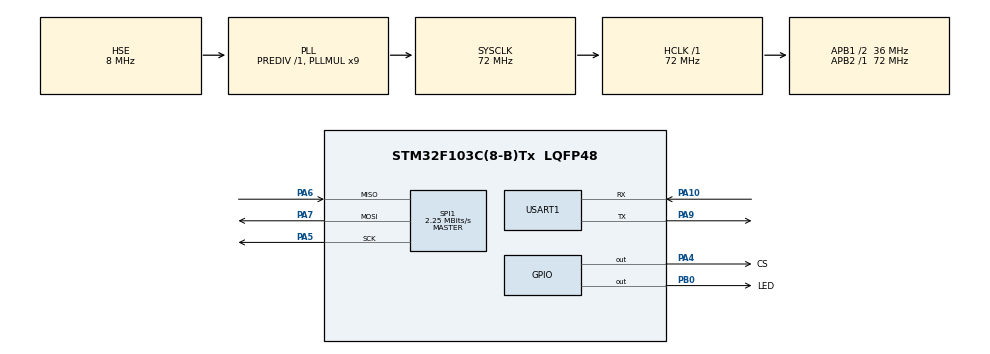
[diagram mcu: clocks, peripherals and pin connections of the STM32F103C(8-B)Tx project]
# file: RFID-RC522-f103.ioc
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Mcu.Family=STM32F1
Mcu.Name=STM32F103C(8-B)Tx
Mcu.Package=LQFP48
NVIC.PriorityGroup=NVIC_PRIORITYGROUP_4
PA10.Mode=Asynchronous
PA10.Signal=USART1_RX
PA13.Mode=Serial_Wire
PA13.Signal=SYS_JTMS-SWDIO
PA14.Mode=Serial_Wire
PA14.Signal=SYS_JTCK-SWCLK
PA4.GPIO_Label=CS
PA4.GPIO_PuPd=GPIO_PULLUP
PA4.Signal=GPIO_Output
PA5.Mode=Full_Duplex_Master
PA5.Signal=SPI1_SCK
PA6.GPIO_PuPd=GPIO_PULLUP
PA6.Mode=Full_Duplex_Master
PA6.Signal=SPI1_MISO
PA7.Mode=Full_Duplex_Master
PA7.Signal=SPI1_MOSI
PA9.Mode=Asynchronous
PA9.Signal=USART1_TX
PB0.GPIO_Label=LED
PB0.Signal=GPIO_Output
PD0-OSC_IN.Mode=HSE-External-Oscillator
PD0-OSC_IN.Signal=RCC_OSC_IN
PD1-OSC_OUT.Mode=HSE-External-Oscillator
PD1-OSC_OUT.Signal=RCC_OSC_OUT
ProjectManager.HeapSize=0x200
ProjectManager.StackSize=0x400
ProjectManager.TargetToolchain=SW4STM32
RCC.AHBFreq_Value=72000000
RCC.APB1CLKDivider=RCC_HCLK_DIV2
RCC.APB1Freq_Value=36000000
RCC.APB1TimFreq_Value=72000000
RCC.APB2Freq_Value=72000000
RCC.APB2TimFreq_Value=72000000
RCC.HCLKFreq_Value=72000000
RCC.PLLMUL=RCC_PLL_MUL9
RCC.PLLSourceVirtual=RCC_PLLSOURCE_HSE
RCC.SYSCLKFreq_VALUE=72000000
RCC.SYSCLKSource=RCC_SYSCLKSOURCE_PLLCLK
RCC.USBFreq_Value=72000000
SPI1.BaudRatePrescaler=SPI_BAUDRATEPRESCALER_32
SPI1.CalculateBaudRate=2.25 MBits/s
SPI1.Direction=SPI_DIRECTION_2LINES
SPI1.Mode=SPI_MODE_MASTER
SPI1.VirtualType=VM_MASTER
USART1.VirtualMode=VM_ASYNC
board=custom

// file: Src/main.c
/* USER CODE BEGIN Header */
/**
  ******************************************************************************
  * @file           : main.c
  * @brief          : Main program body
  ******************************************************************************
  * @attention
  *
  * <h2><center>&copy; Copyright (c) 2019 STMicroelectronics.
  * All rights reserved.</center></h2>
  *
  * This software component is licensed by ST under BSD 3-Clause license,
  * the "License"; You may not use this file except in compliance with the
  * License. You may obtain a copy of the License at:
  *                        opensource.org/licenses/BSD-3-Clause
  *
  ******************************************************************************
  */
/* USER CODE END Header */

#include "main.h"
#include "spi.h"
#include "usart.h"
#include "gpio.h"

/* USER CODE BEGIN Includes */

	#include <string.h>
	#include <stdio.h>
	#include "MFRC522.h"

	//	SPI3 сконфигурирован в режиме Master, mode 0, скорость 2.25 Мбит/с (делитель 32).
	//	PA4	------> GPIO_Output	[Label: CS][MFRC522 SDA]
	//	PA5	------> SPI1_SCK [MFRC522 SCK]
	//	PA6	------> SPI1_MISO [MFRC522 MISO]
	//	PA7	------> SPI1_MOSI [MFRC522 MOSI]

/* USER CODE END Includes */

void SystemClock_Config(void);

int main(void)
{
  /* USER CODE BEGIN 1 */

	uint8_t CardID[5];
	uint8_t MyID_card[5]  = {0xB0, 0xE7, 0x83, 0x0B, 0xDF};
	uint8_t MyID_token[5] = {0x2D, 0x89, 0xC9, 0x55, 0x38};
	uint8_t MyID_LG_Q7[5] = {0x01, 0x02, 0x03, 0x04, 0x04};

  /* USER CODE END 1 */

  /* MCU Configuration--------------------------------------------------------*/

  /* Reset of all peripherals, Initializes the Flash interface and the Systick. */
  HAL_Init();

  /* Configure the system clock */
  SystemClock_Config();

  /* Initialize all configured peripherals */
  MX_GPIO_Init();
  MX_SPI1_Init();
  MX_USART1_UART_Init();
  /* USER CODE BEGIN 2 */
	char DataChar[100];
	sprintf(DataChar,"\r\nRFID RC522 v1.0.0\r\nUART1 for debug started on speed 115200\r\n");
	HAL_UART_Transmit(&huart1, (uint8_t *)DataChar, strlen(DataChar), 100);

	MFRC522_Init(&hspi1);

  /* USER CODE END 2 */

  /* Infinite loop */
  /* USER CODE BEGIN WHILE */
  while (1)
  {
	if (MFRC522_Check(CardID) == MI_OK)		/* Check if card is present */
	{
		if (MFRC522_Compare(CardID, MyID_card) == MI_OK)
		{
			sprintf(DataChar,"white card: ");
			HAL_UART_Transmit(&huart1, (uint8_t *)DataChar, strlen(DataChar), 100);
		}
		else if (MFRC522_Compare(CardID, MyID_token) == MI_OK)
		{
			sprintf(DataChar,"blue token: ");
			HAL_UART_Transmit(&huart1, (uint8_t *)DataChar, strlen(DataChar), 100);
		}
		else if (MFRC522_Compare(CardID, MyID_LG_Q7) == MI_OK)
		{
			sprintf(DataChar,"black card: ");
			HAL_UART_Transmit(&huart1, (uint8_t *)DataChar, strlen(DataChar), 100);
		}
		else
		{
			sprintf(DataChar,"Unknown: ");
			HAL_UART_Transmit(&huart1, (uint8_t *)DataChar, strlen(DataChar), 100);
		}
		sprintf(DataChar,"%02X %02X %02X %02X %02X\r\n", CardID[0], CardID[1], CardID[2], CardID[3], CardID[4]);
		HAL_UART_Transmit(&huart1, (uint8_t *)DataChar, strlen(DataChar), 100);
	} else
	{
		sprintf(DataChar,"No card! \r\n");
		HAL_UART_Transmit(&huart1, (uint8_t *)DataChar, strlen(DataChar), 100);
	}
	HAL_Delay(200);

    /* USER CODE END WHILE */

  }
}

void SystemClock_Config(void)
{
  RCC_OscInitTypeDef RCC_OscInitStruct = {0};
  RCC_ClkInitTypeDef RCC_ClkInitStruct = {0};

  /** Initializes the CPU, AHB and APB busses clocks
  */
  RCC_OscInitStruct.OscillatorType = RCC_OSCILLATORTYPE_HSE;
  RCC_OscInitStruct.HSEState = RCC_HSE_ON;
  RCC_OscInitStruct.HSEPredivValue = RCC_HSE_PREDIV_DIV1;
  RCC_OscInitStruct.HSIState = RCC_HSI_ON;
  RCC_OscInitStruct.PLL.PLLState = RCC_PLL_ON;
  RCC_OscInitStruct.PLL.PLLSource = RCC_PLLSOURCE_HSE;
  RCC_OscInitStruct.PLL.PLLMUL = RCC_PLL_MUL9;
  if (HAL_RCC_OscConfig(&RCC_OscInitStruct) != HAL_OK)
  {
    Error_Handler();
  }
  /** Initializes the CPU, AHB and APB busses clocks
  */
  RCC_ClkInitStruct.ClockType = RCC_CLOCKTYPE_HCLK|RCC_CLOCKTYPE_SYSCLK
                              |RCC_CLOCKTYPE_PCLK1|RCC_CLOCKTYPE_PCLK2;
  RCC_ClkInitStruct.SYSCLKSource = RCC_SYSCLKSOURCE_PLLCLK;
  RCC_ClkInitStruct.AHBCLKDivider = RCC_SYSCLK_DIV1;
  RCC_ClkInitStruct.APB1CLKDivider = RCC_HCLK_DIV2;
  RCC_ClkInitStruct.APB2CLKDivider = RCC_HCLK_DIV1;

  if (HAL_RCC_ClockConfig(&RCC_ClkInitStruct, FLASH_LATENCY_2) != HAL_OK)
  {
    Error_Handler();
  }
}

void Error_Handler(void)
{
}

/************************ (C) COPYRIGHT STMicroelectronics *****END OF FILE****/
